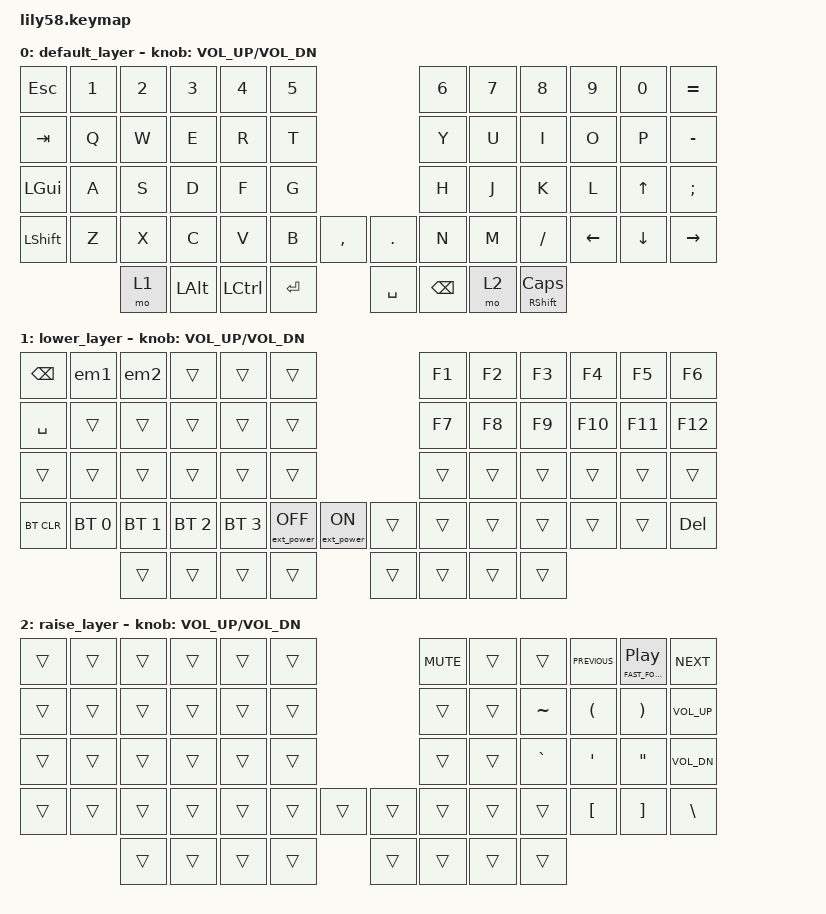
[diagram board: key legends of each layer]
/*
 * Copyright (c) 2020 The ZMK Contributors
 * SPDX-License-Identifier: MIT
 */

#include <behaviors.dtsi>
#include <dt-bindings/zmk/keys.h>
#include <dt-bindings/zmk/bt.h>
#include <dt-bindings/zmk/ext_power.h>

/ {
    macros {
        em1: em1 {
            compatible = "zmk,behavior-macro";
            #binding-cells = <0>;
	    wait-ms = <1>;
            bindings = <&macro_tap &kp K &kp R &kp I &kp S &kp C &kp A &kp B &kp L &kp E &kp S &kp AT &kp G &kp M &kp A &kp I &kp L &kp DOT &kp C &kp O &kp M >;
        };
 	em2: em2 {
            compatible = "zmk,behavior-macro";
            #binding-cells = <0>;
	    wait-ms = <1>;
            bindings = <&macro_tap &kp C &kp R &kp I &kp S &kp T &kp I &kp A &kp N &kp M &kp I &kp T &kp U &kp L &kp AT &kp G &kp M &kp A &kp I &kp L &kp DOT &kp C &kp O &kp M >;
        };
	};
}; 



/ {
	keymap {
		compatible = "zmk,keymap";

		default_layer {
// ------------------------------------------------------------------------------------------------------------
// |  ESC  |  1  |  2  |  3   |  4   |  5   |                   |  6   |  7    |  8    |  9   |   0   |   =   |
// |  TAB  |  Q  |  W  |  E   |  R   |  T   |                   |  Y   |  U    |  I    |  O   |   P   |   -   |
// |  LGUI |  A  |  S  |  D   |  F   |  G   |                   |  H   |  J    |  K    |  L   |   ^   |   ;   |
// |  SHFT |  Z  |  X  |  C   |  V   |  B   |   , <  |  |  . >  |  N   |  M    |  /    |  <-  |   v   |   ->  |
//                   | LOWER  | ALT  | CTRL |  ENTER |  | SPACE | BSPC | RAISE |RSHFTCAPS|
			bindings = <
&kp ESC   &kp N1 &kp N2 &kp N3 &kp N4 &kp N5                       	&kp N6 &kp N7   &kp N8    &kp N9   &kp N0   &kp EQUAL
&kp TAB   &kp Q  &kp W  &kp E  &kp R  &kp T                         &kp Y  &kp U    &kp I     &kp O    &kp P    &kp MINUS
&kp LGUI  &kp A  &kp S  &kp D  &kp F  &kp G                         &kp H  &kp J    &kp K     &kp L    &kp UP   &kp SEMI
&kp LSHFT &kp Z  &kp X  &kp C  &kp V  &kp B     &kp COMMA &kp DOT   &kp N  &kp M    &kp FSLH  &kp LEFT &kp DOWN &kp RIGHT
                 &mo 1 &kp LALT  &kp LCTRL  &kp RET  &kp SPACE  &kp BSPC &mo 2  &mt RSHFT CAPS
			>;
			sensor-bindings = <&inc_dec_kp C_VOL_UP C_VOL_DN>;
		};
		lower_layer {
// ------------------------------------------------------------------------------------------------------------
// | BSPC  | EM1 | EM2 |      |      |      |                   |  F1  |  F2   |  F3   |  F4  |  F5   |  F6   |
// | SPACE |     |     |      |      |      |                   |  F7  |  F8   |  F9   |  F10 |  F11  |  F12  |
// |       |     |     |      |      |      |                   |      |       |       |      |       |       |
// |BTCLR  | BT1 | BT2 |  BT3 | BT4  |EPOFF	| EXPP_ON|  |       |      |       |       |      |       |  DEL  |
//                     |      |      |      |        |  |       |      |       |       |
			bindings = <
&kp BSPC   &em1    &em2    &trans   &trans  &trans                                       	&kp F1    &kp F2    &kp F3    &kp F4    &kp F5    &kp F6  
&kp SPACE  &trans  &trans  &trans   &trans  &trans                                         	&kp F7    &kp F8    &kp F9    &kp F10   &kp F11   &kp F12
&trans     &trans  &trans  &trans   &trans  &trans                                         	&trans    &trans    &trans    &trans    &trans    &trans
&bt BT_CLR &bt BT_SEL 0 &bt BT_SEL 1 &bt BT_SEL 2 &bt BT_SEL 3  &ext_power EP_OFF  &ext_power EP_ON   &trans   &trans    &trans    &trans    &trans    &trans    &kp DELETE
                        	&trans  &trans  &trans  &trans                   &trans  &trans  &trans  &trans
			>;
			sensor-bindings = <&inc_dec_kp C_VOL_UP C_VOL_DN>;
		};
		raise_layer {
// ------------------------------------------------------------------------------------------------------------
// |       |     |     |      |      |      |                   | MUTE |       |       | PREV  |PL/PSE | NEXT  |
// |       |     |     |      |      |      |                   |      |       |   ~   |   (   |   )   | VOL_UP|
// |       |     |     |      |      |      |                   |      |       |  `~   |   '   |   "   |VOL_DWN|
// |       |     |     |      |      |      |        |  |       |      |       |       |   [   |   ]   |  \|   |
//                     |      |      |      |        |  |       |      |       |       |
			bindings = <
&trans &trans &trans &trans  &trans  &trans                       &kp C_MUTE &trans  	&trans  	&kp C_PREVIOUS 	&mt C_FAST_FORWARD C_PLAY_PAUSE &kp C_NEXT
&trans &trans &trans &trans  &trans  &trans                       &trans     &trans  	&kp TILDE  	&kp LPAR 		&kp RPAR  	&kp C_VOL_UP       
&trans &trans &trans &trans  &trans  &trans                       &trans     &trans  	&kp GRAVE	&kp SQT 		&kp DQT   	&kp C_VOL_DN
&trans &trans &trans &trans  &trans  &trans   &trans      &trans  &trans     &trans  	&trans  	&kp LBKT 		&kp RBKT  	&kp BSLH 
        	    &trans  &trans  &trans    &trans      &trans  &trans     &trans  &trans
			>;
			sensor-bindings = <&inc_dec_kp C_VOL_UP C_VOL_DN>;
		};
	};
};
